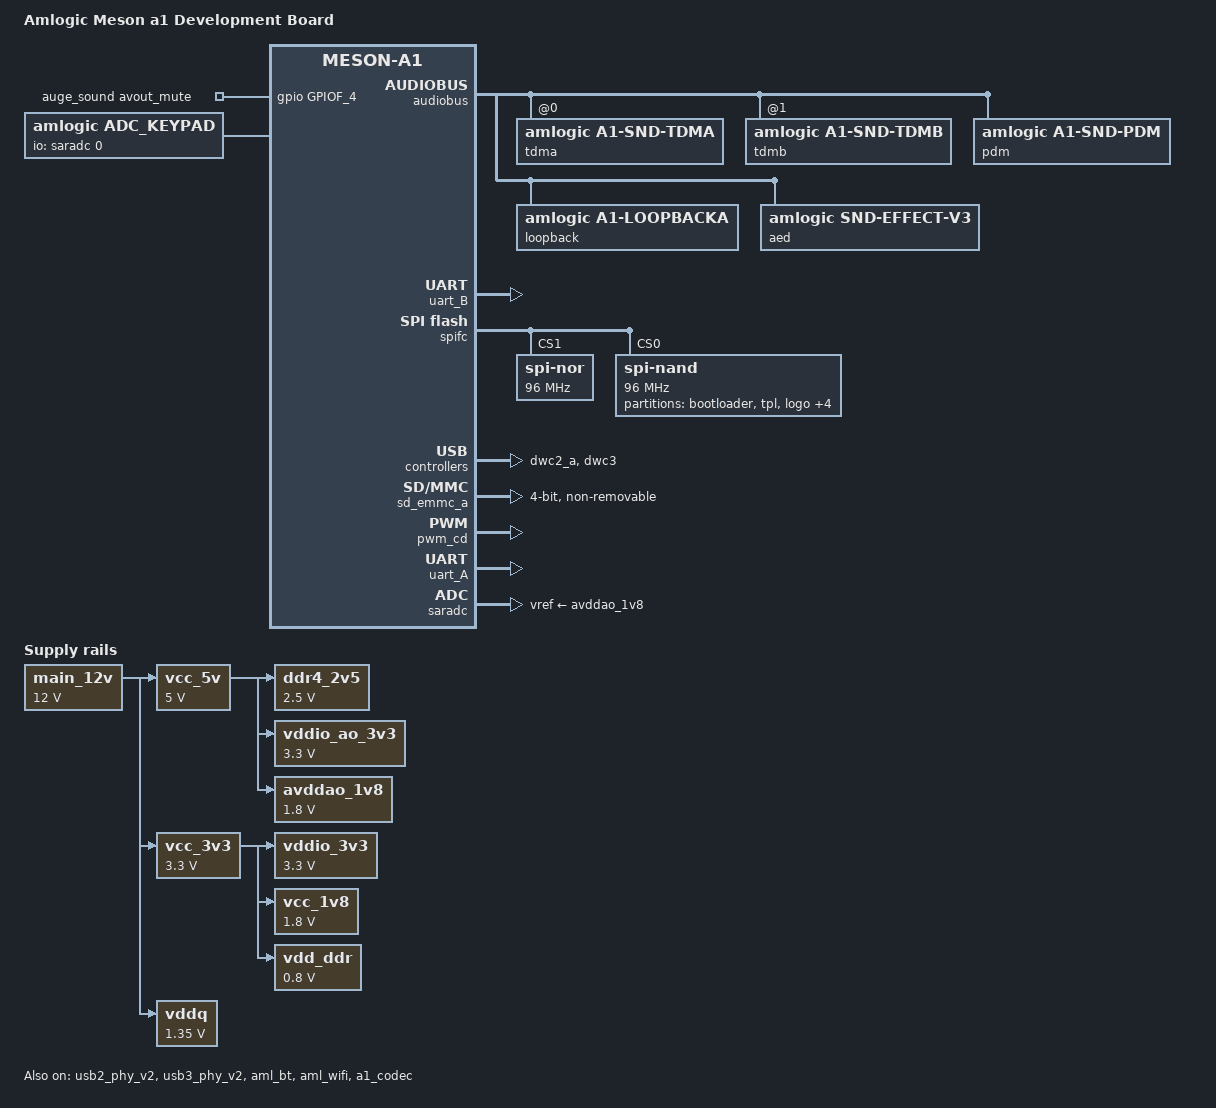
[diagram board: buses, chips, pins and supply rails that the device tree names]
// SPDX-License-Identifier: (GPL-2.0+ OR MIT)
/*
 * Copyright (c) 2019 Amlogic, Inc. All rights reserved.
 */

/dts-v1/;

#include "meson-a1.dtsi"

/ {
	compatible = "amlogic,a1";
	model = "Amlogic Meson a1 Development Board";

	aliases {
		serial0 = &uart_B;
		serial1 = &uart_A;
		serial2 = &uart_C;
		i2c0 = &i2c0;
		i2c1 = &i2c1;
		i2c2 = &i2c2;
		i2c3 = &i2c3;
		spi0 = &spifc;
		spi1 = &spicc0;
		tsensor0 = &tsensor;
	};
	chosen {
		stdout-path = "serial0:115200n8";
	};
	memory@0 {
		device_type = "memory";
		linux,usable-memory = <0x0 0x0 0x0 0x8000000>;
	};

	reserved-memory {
		#address-cells = <2>;
		#size-cells = <2>;
		ranges;

		dsp_fw_reserved:linux,dsp_fw {
			compatible = "shared-dma-pool";
			reusable;
			size = <0x0 0x1400000>;
			alignment = <0x0 0x400000>;
			alloc-ranges = <0x0 0x2800000 0x0 0x1400000>;
		};

		secos_reserved:linux,secos {
			status = "okay";
			compatible = "amlogic, aml_secos_memory";
			reg = <0x0 0x03d00000 0x0 0x00300000>;
			no-map;
		};

		/* global autoconfigured region for contiguous allocations */
		linux,cma {
			compatible = "shared-dma-pool";
			reusable;
			size = <0x0 0x800000>;
			alignment = <0x0 0x400000>;
			linux,cma-default;
		};
	};

	main_12v: regulator-main_12v {
		compatible = "regulator-fixed";
		regulator-name = "12V";
		regulator-min-microvolt = <12000000>;
		regulator-max-microvolt = <12000000>;
		regulator-always-on;
	};

	vcc_5v: regulator-vcc_5v {
		compatible = "regulator-fixed";
		regulator-name = "VCC_5V";
		regulator-min-microvolt = <5000000>;
		regulator-max-microvolt = <5000000>;
		vin-supply = <&main_12v>;
		regulator-always-on;
	};

	vcc_3v3: regulator-vcc_3v3 {
		compatible = "regulator-fixed";
		regulator-name = "VCC_3V3";
		regulator-min-microvolt = <3300000>;
		regulator-max-microvolt = <3300000>;
		vin-supply = <&main_12v>;
		regulator-always-on;
	};

	vddio_3v3: regulator-vddio_3v3 {
		compatible = "regulator-fixed";
		regulator-name = "VDDIO_3V3";
		regulator-min-microvolt = <3300000>;
		regulator-max-microvolt = <3300000>;
		vin-supply = <&vcc_3v3>;
		regulator-always-on;
	};

	vddq: regulator-vddq {
		compatible = "regulator-fixed";
		regulator-name = "VDDQ";
		regulator-min-microvolt = <1350000>;
		regulator-max-microvolt = <1350000>;
		vin-supply = <&main_12v>;
		regulator-always-on;
	};

	ddr4_2v5: regulator-ddr4_2v5 {
		compatible = "regulator-fixed";
		regulator-name = "DDR4_2V5";
		regulator-min-microvolt = <2500000>;
		regulator-max-microvolt = <2500000>;
		vin-supply = <&vcc_5v>;
		regulator-always-on;
	};

	vddio_ao_3v3: regulator-vddio_ao_3v3 {
		compatible = "regulator-fixed";
		regulator-name = "VDDIO_AO_3V3";
		regulator-min-microvolt = <3300000>;
		regulator-max-microvolt = <3300000>;
		vin-supply = <&vcc_5v>;
		regulator-always-on;
	};

	vcc_1v8: regulator-vcc_1v8 {
		compatible = "regulator-fixed";
		regulator-name = "VCC_1V8";
		regulator-min-microvolt = <1800000>;
		regulator-max-microvolt = <1800000>;
		vin-supply = <&vcc_3v3>;
		regulator-always-on;
	};

	vdd_ddr: regulator-vdd_ddr {
		compatible = "regulator-fixed";
		regulator-name = "VDD_DDR";
		regulator-min-microvolt = <800000>;
		regulator-max-microvolt = <800000>;
		vin-supply = <&vcc_3v3>;
		regulator-always-on;
	};

	avddao_1v8: regulator-avddao_1v8 {
		compatible = "regulator-fixed";
		regulator-name = "AVDDAO_1V8";
		regulator-min-microvolt = <1800000>;
		regulator-max-microvolt = <1800000>;
		vin-supply = <&vcc_5v>;
		regulator-always-on;
	};

	/* Audio Related start */
	dummy_codec:dummy_codec{
		#sound-dai-cells = <0>;
		compatible = "amlogic, aml_dummy_codec";
		status = "okay";
	};

	a1_codec:a1_codec {
		#sound-dai-cells = <0>;
		compatible = "amlogic, a1_acodec";
		status = "okay";
		reg = <0x0 0xFE004800 0x0 0x20>;
		tdmout_index = <1>;
		tdmin_index = <1>;
		dat0_ch_sel = <0>;
		power-domains = <&pwrdm PDID_ACODEC>;
	};

	auge_sound {
		compatible = "amlogic, auge-sound-card";
		aml-audio-card,name = "AML-AUGESOUND";

		/*avout mute gpio*/
		avout_mute-gpios = <&gpio GPIOF_4 GPIO_ACTIVE_HIGH>;

		aml-audio-card,dai-link@0 {
			format = "dsp_a";
			mclk-fs = <512>;
			//continuous-clock;
			//bitclock-inversion;
			//frame-inversion;
			/* master mode */
			bitclock-master = <&tdma>;
			frame-master = <&tdma>;
			/* slave mode */
			/*
			 * bitclock-master = <&tdmacodec>;
			 * frame-master = <&tdmacodec>;
			 */
			suffix-name = "alsaPORT-pcm";
			tdmacpu: cpu {
				sound-dai = <&tdma>;
				dai-tdm-slot-tx-mask =
							<1>;
				dai-tdm-slot-rx-mask =
							<1>;
				dai-tdm-slot-num = <2>;
				dai-tdm-slot-width = <16>;
				system-clock-frequency = <256000>;
			};
			tdmacodec: codec {
				sound-dai = <&dummy_codec>;
			};
		};

		aml-audio-card,dai-link@1 {
			format = "i2s";// "dsp_a";
			mclk-fs = <256>;
			//continuous-clock;
			//bitclock-inversion;
			//frame-inversion;
			/* master mode */
			bitclock-master = <&tdmb>;
			frame-master = <&tdmb>;
			/* slave mode */
			//bitclock-master = <&tdmbcodec>;
			//frame-master = <&tdmbcodec>;
			/* suffix-name, sync with android audio hal
			 * what's the dai link used for
			 */
			suffix-name = "alsaPORT-i2s";
			cpu {
				sound-dai = <&tdmb>;
				dai-tdm-slot-tx-mask = <1 1>;
				dai-tdm-slot-rx-mask = <1 1>;
				dai-tdm-slot-num = <2>;
				dai-tdm-slot-width = <32>;
				system-clock-frequency = <614400000>;
			};
			tdmbcodec: codec {
				sound-dai = <&a1_codec>;
			};
		};

		aml-audio-card,dai-link@2 {
			mclk-fs = <64>;
			/* suffix-name, sync with android audio hal
			 * what's the dai link used for
			 */
			suffix-name = "alsaPORT-pdm";
			cpu {
				sound-dai = <&pdm>;
			};
			codec {
				sound-dai = <&dummy_codec>;
			};
		};
#if 0
		aml-audio-card,dai-link@3 {
			mclk-fs = <128>;
			/* suffix-name, sync with android audio hal used for */
			suffix-name = "alsaPORT-spdif";
			cpu {
				sound-dai = <&spdifa>;
				system-clock-frequency = <6144000>;
			};
			codec {
				sound-dai = <&dummy_codec>;
			};
		};
#endif
		aml-audio-card,dai-link@4 {
			mclk-fs = <256>;
			continuous-clock;
			suffix-name = "alsaPORT-loopback";
			cpu {
				sound-dai = <&loopback>;
				system-clock-frequency = <12288000>;
			};
			codec {
				sound-dai = <&dummy_codec>;
			};
		};
	};
	audiolocker: locker {
		compatible = "amlogic, audiolocker";
		clocks = <&clkaudio CLKID_AUDIO_LOCKER_OUT
				&clkaudio CLKID_AUDIO_LOCKER_IN
				&clkaudio CLKID_AUDIO_MCLK_C
				&clkaudio CLKID_AUDIO_MCLK_D
				&clkc CLKID_FCLK_DIV2
				&clkc CLKID_FCLK_DIV3>;
		clock-names = "lock_out", "lock_in", "out_src",
					"in_src", "out_calc", "in_ref";
		interrupts = <GIC_SPI 42 IRQ_TYPE_EDGE_RISING>;
		interrupt-names = "irq";
		frequency = <49000000>; /* pll */
		dividor = <49>; /* locker's parent */
		power-domains = <&pwrdm PDID_AUDIO>;
		status = "disabled";
	};
	/* Audio Related end */

	adc_keypad {
		compatible = "amlogic, adc_keypad";
		status = "okay";
		key_name = "play", "vol-", "vol+";
		key_num = <3>;
		io-channels = <&saradc 0>;
		io-channel-names = "key-chan-0";
		key_chan = <0 0 0>;
		key_code = <207 114 115>;
		key_val = <0 142 267>; //val=voltage/1800mV*1023
		key_tolerance = <40 40 40>;
	};
};

/* Audio Related start */
&audiobus {
	tdma: tdm@0 {
		compatible = "amlogic, a1-snd-tdma";
		#sound-dai-cells = <0>;
		dai-tdm-lane-slot-mask-in = <0 1>;
		dai-tdm-lane-slot-mask-out = <1 0>;
		dai-tdm-clk-sel = <0>;
		clocks = <&clkaudio CLKID_AUDIO_MCLK_A
				&clkc CLKID_FCLK_DIV3>;
		clock-names = "mclk", "clk_srcpll";
		pinctrl-names = "tdm_pins";
		pinctrl-0 = <&tdmout_a &tdmin_a>;
		power-domains = <&pwrdm PDID_AUDIO>;

		status = "okay";
	};

	tdmb: tdm@1 {
		compatible = "amlogic, a1-snd-tdmb";
		#sound-dai-cells = <0>;
		dai-tdm-lane-slot-mask-in = <1 0 0 0>;
		dai-tdm-lane-slot-mask-out = <1 0 0 0>;
		/* dai-tdm-lane-oe-slot-mask-in = <0 1>; */
		dai-tdm-clk-sel = <1>;
		clocks = <&clkaudio CLKID_AUDIO_MCLK_B
				&clkaudio CLKID_AUDIO_MCLK_PAD0
				&clkc CLKID_FCLK_DIV3>;
		clock-names = "mclk", "mclk_pad", "clk_srcpll";
		pinctrl-names = "tdm_pins";
		pinctrl-0 = <&tdmb_mclk &tdmout_b &tdm_clk_pins>;

		/* tdmin data comes from ACODEC adc */
		acodec_adc = <1>;

		/*
		 * 0: tdmout_a;
		 * 1: tdmout_b;
		 * 2: tdmout_c;
		 * 3: spdifout;
		 * 4: spdifout_b;
		 */
		//samesource_sel = <3>;
		start_clk_enable = <1>;
		power-domains = <&pwrdm PDID_AUDIO>;

		src-clk-freq = <614400000>;

		status = "okay";
	};

	spdifa: spdif@0 {
		compatible = "amlogic, a1-snd-spdif-a";
		#sound-dai-cells = <0>;
		clocks = <&clkc CLKID_FCLK_DIV3
				&clkaudio CLKID_AUDIO_GATE_SPDIFIN
				&clkaudio CLKID_AUDIO_SPDIFIN>;
		clock-names = "fixed_clk", "gate_spdifin", "clk_spdifin";
		interrupts =
				<GIC_SPI 39 IRQ_TYPE_EDGE_RISING>;

		interrupt-names = "irq_spdifin";
		/* pinctrl-names = "spdif_pins";
		 * pinctrl-0 = <&spdifin>;
		 */
		power-domains = <&pwrdm PDID_AUDIO>;

		status = "disabled";
	};

	pdm: pdm {
		compatible = "amlogic, a1-snd-pdm";
		#sound-dai-cells = <0>;

		clocks = <&clkaudio CLKID_AUDIO2_GATE_PDM
			&clkc CLKID_FCLK_DIV2
			&clkc CLKID_FCLK_DIV2
			&clkaudio CLKID_AUDIO2_PDM_DCLK
			&clkaudio CLKID_AUDIO2_PDM_SYSCLK>;
		clock-names = "gate",
			"sysclk_srcpll",
			"dclk_srcpll",
			"pdm_dclk",
			"pdm_sysclk";

		pinctrl-names = "pdm_pins";
		pinctrl-0 = <&pdmin>;

		/* mode 0~4, defalut:1 */
		filter_mode = <1>;
		sys-src-clk-freq = <614400000>;
		/*power-domains = <&pwrdm PDID_PDM>;*/

		status = "okay";
	};

	asrca: resample@0 {
		compatible = "amlogic, a1-resample-a";
		clocks = <&clkc CLKID_FCLK_DIV3
			&clkaudio CLKID_AUDIO_MCLK_C
			&clkaudio CLKID_AUDIO_RESAMPLEA>;
		clock-names = "resample_pll", "resample_src", "resample_clk";

		/*same with toddr_src
		 *	TDMIN_A,    0
		 *	TDMIN_B,    1
		 *	TDMIN_C,    2
		 *	SPDIFIN,    3
		 *	PDMIN,      4
		 *	FRATV,      5
		 *	TDMIN_LB,   6
		 *	LOOPBACK_A, 7
		 *	FRHDMIRX,   8
		 *	LOOPBACK_B, 9
		 *	SPDIFIN_LB, 10
		 *	EARC_RX,    11
		 */
		resample_module = <3>;

		/* only can enable one new resample
		 * as only have one new resample HW
		 */
		status = "disabled";
	};

	asrcb: resample@1 {
		compatible = "amlogic, a1-resample-b";
		clocks = <&clkc CLKID_FCLK_DIV3
			&clkaudio CLKID_AUDIO_MCLK_D
			&clkaudio CLKID_AUDIO_RESAMPLEA>;
		clock-names = "resample_pll", "resample_src", "resample_clk";

		/*this resample is only used for loopback_A.*/
		/*only support 16000 or 48000Hz for capture*/
		capture_sample_rate = <16000>;

		/* hifi pll rate */
		src-clk-freq = <614400000>;

		status = "disabled";
	};

	vad:vad {
		compatible = "amlogic, snd-vad-top";
		#sound-dai-cells = <0>;

		clocks = <&clkaudio CLKID_AUDIO2_GATE_TOVAD
			/* &clkc CLKID_FCLK_DIV2 */
			&xtal
			&clkaudio CLKID_AUDIO2_VAD_CLK>;
		clock-names = "gate", "pll", "clk";

		interrupts = <GIC_SPI 117 IRQ_TYPE_EDGE_RISING
				GIC_SPI 118 IRQ_TYPE_EDGE_RISING>;
		interrupt-names = "irq_wakeup", "irq_frame_sync";

		/*
		 * Data src sel:
		 * 2: tdmin_c, actually tdmin_vad
		 * 4: pdmin
		 */
		src = <4>;

		/*
		 * deal with hot word in user space or kernel space
		 * 0: in user space
		 * 1: in kernel space
		 */
		level = <1>;

		status = "disabled";
	};

	loopback: loopback {
		compatible = "amlogic, a1-loopbacka";
		#sound-dai-cells = <0>;

		original-src = <&tdmb>;
		//tdmin_lb-src = <&tdmin_lb>;

		clocks = <&clkaudio CLKID_AUDIO2_GATE_PDM
			&clkc CLKID_FCLK_DIV2
			&clkc CLKID_FCLK_DIV2
			&clkaudio CLKID_AUDIO2_PDM_DCLK
			&clkaudio CLKID_AUDIO2_PDM_SYSCLK
			&clkc CLKID_FCLK_DIV3
			&clkaudio CLKID_AUDIO_MCLK_C>;
		clock-names = "pdm_gate",
			"pdm_sysclk_srcpll",
			"pdm_dclk_srcpll",
			"pdm_dclk",
			"pdm_sysclk",
			"tdminlb_mpll",
			"tdminlb_mclk";

		/* datain src
		 * 0: tdmin_a;
		 * 1: tdmin_b;
		 * 2: tdmin_c;
		 * 3: spdifin;
		 * 4: pdmin;
		 */
		datain_src = <1>;
		datain_chnum = <2>;
		datain_chmask = <0x3>;
		/* config which data pin for loopback */
		datain-lane-mask-in = <1 0 0 0>;

		sys-src-clk-freq = <614400000>;

		/* calc mclk for datalb */
		mclk-fs = <256>;

		/* tdmin_lb src
		 * 0: tdmoutA
		 * 1: tdmoutB
		 * 2: tdmoutC
		 * 3: PAD_TDMINA_DIN*, refer to core pinmux
		 * 4: PAD_TDMINB_DIN*, refer to core pinmux
		 * 5: PAD_TDMINC_DIN*, refer to core pinmux
		 * 6: PAD_TDMINA_D*, oe, refer to core pinmux
		 * 7: PAD_TDMINB_D*, oe, refer to core pinmux
		 */
		/* if tdmin_lb >= 3, use external loopback */
		datalb_src = <1>;
		datalb_chnum = <2>;
		datalb_chmask = <0x3>;
		/* config which data pin as loopback */
		datalb-lane-mask-in = <1 0 0 0>;
		power-domains = <&pwrdm PDID_AUDIO>;

		status = "okay";
	};

	aed:effect {
		compatible = "amlogic, snd-effect-v3";
		#sound-dai-cells = <0>;
		clocks = <&clkaudio CLKID_AUDIO_GATE_EQDRC
			&clkc CLKID_FCLK_DIV3
			&clkaudio CLKID_AUDIO_EQDRC>;
		clock-names = "gate", "srcpll", "eqdrc";
		/*
		 * 0:tdmout_a
		 * 1:tdmout_b
		 * 2:tdmout_c
		 * 3:spdifout
		 * 4:spdifout_b
		 */
		eqdrc_module = <1>;
		/* max 0xf, each bit for one lane, usually one lane */
		lane_mask = <0x1>;
		/* max 0xff, each bit for one channel */
		channel_mask = <0x3>;
		power-domains = <&pwrdm PDID_AUDIO>;
		status = "okay";
	};
}; /* end of audiobus */
/* Audio Related end */

&pinctrl_periphs {
	/* Audio Related start */
	tdmout_a: tdmout_a {
		mux { /* GPIOX_10, GPIOX_9, GPIOX_8 */
			groups = "tdm_a_sclk",
				"tdm_a_fs",
				"tdm_a_dout0";
			function = "tdm_a";
		};
	};

	tdmin_a: tdmin_a {
		mux { /* GPIOX_7 */
			groups = "tdm_a_din1";
			function = "tdm_a";
		};
	};

	tdmb_mclk: tdmb_mclk {
		mux {
			groups = "mclk_0";
			function = "mclk_0";
			drive-strength = <2>;
		};
	};

	tdmout_b: tdmout_b {
		mux { /* GPIOA_1, GPIOA_2, GPIOA_3 */
			groups = "tdm_b_sclk",
				"tdm_b_fs",
				"tdm_b_dout0";
			function = "tdm_b";
			drive-strength = <2>;
		};
	};

	tdmin_b:tdmin_b {
		mux { /* GPIOA_7 */
			groups = "tdm_b_din0";
			function = "tdm_b";
			drive-strength = <2>;
		};
	};

	spdifin: spdifin {
		mux {/* GPIOF_6 */
			groups = "spdif_in_f6";
			function = "spdif_in";
		};
	};

	pdmin: pdmin {
		mux { /* GPIOA_6, GPIOA_7, GPIOA_8, GPIOA_9 */
			groups =
				"pdm_din2_a",
				"pdm_din1_a",
				"pdm_din0_a",
				"pdm_dclk";
			function = "pdm";
		};
	};

	/* Audio Related end */

}; /* end of pinctrl_periphs */

&pinctrl_audio {
	tdm_clk_pins: tdm_clk_pin {
		mux {
			groups = "tdm_sclk1", "tdm_lrclk1";
			function = "tdm_clk_outb";
		};
	};
};

&uart_B {
	status = "okay";
};

&spifc {
	status = "okay";
	pinctrl-names = "default";
	pinctrl-0 = <&spifc_pins>;
	spi-nor@1 {
		reg = <1>;
		compatible = "jedec,spi-nor";
		spi-max-frequency = <96000000>;
	};
	spi-nand@0 {
		compatible = "spi-nand";
		status = "okay";
		reg = <0>;
		spi-max-frequency = <96000000>;
		spi-tx-bus-width = <4>;
		spi-rx-bus-width = <4>;
		env_size = <8192>;
		bl_mode = <1>;
		fip_copies = <4>;
		fip_size = <0x200000>;
		partition = <&partitions>;
		partitions: partitions{
			bootloader{
				offset=<0x0 0x0>;
				size=<0x0 0x0>;
			};
			tpl{
				offset=<0x0 0x0>;
				size=<0x0 0x0>;
			};
			logo{
				offset=<0x0 0x0>;
				size=<0x0 0x200000>;
			};
			recovery{
				offset=<0x0 0x0>;
				size=<0x0 0x1000000>;
			};
			boot{
				offset=<0x0 0x0>;
				size=<0x0 0x1000000>;
			};
			system{
				offset=<0x0 0x0>;
				size=<0x0 0x4000000>;
			};
			data{
				offset=<0xffffffff 0xffffffff>;
				size=<0x0 0x0>;
			};
		};
	};
};

&dwc2_a {
	status = "okay";
	/** 0: normal, 1: otg+dwc3 host only, 2: otg+dwc3 device only*/
	controller-type = <1>;
};

&sd_emmc_a {
	status = "okay";
	pinctrl-0 = <&sdio_pins>;
	pinctrl-1 = <&sdio_clk_gate_pins>;
	pinctrl-names = "default", "clk-gate";
	bus-width = <4>;
	cap-sd-highspeed;
//	sd-uhs-sdr12;
//	sd-uhs-sdr25;
//	sd-uhs-sdr50;
//	sd-uhs-sdr104;
	non-removable;
	keep-power-in-suspend;
	max-frequency = <200000000>;
	disable-wp;
	cap-sdio-irq;
	card_type = <3>;

//	vmmc-supply = <&vcc_3v3>;
//	vqmmc-supply = <&vcc_1v8>;
};

&dwc3 {
	status = "okay";
};

&usb2_phy_v2 {
	status = "okay";
	portnum = <1>;
};

&usb3_phy_v2 {
	status = "okay";
	portnum = <0>;
};

&ir{
	status = "disabled";
};

&aml_bt {
	status = "okay";
	//hostwake-gpios = <&gpio       GPIOX_10       GPIO_ACTIVE_HIGH>;
};

&aml_wifi {
	status = "okay";
	power_on-gpios = <&gpio       GPIOX_6       GPIO_ACTIVE_HIGH>;
	interrupt-gpios = <&gpio       GPIOX_9       GPIO_ACTIVE_HIGH>;
};

&pwm_cd {
	status = "okay";
};

&uart_A {
	status = "okay";
};

&saradc {
	status = "okay";
	vref-supply = <&avddao_1v8>;
};

&spicc0 {
	status = "disabled";
	pinctrl-names = "default";
	pinctrl-0 = <&spicc0_pins_x7_10>;
	cs-gpios = <&gpio GPIOX_9 0>;
};
